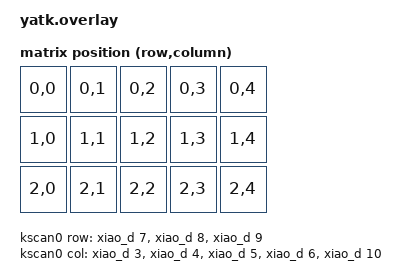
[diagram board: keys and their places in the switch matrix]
#include <dt-bindings/zmk/matrix_transform.h>
/ {
    chosen {
        zmk,kscan = &kscan0;
        zmk,matrix-transform = &default_transform;
    };

    default_transform: keymap_transform_0 {
        compatible = "zmk,matrix-transform";
        columns = <5>;
        rows = <3>;
//   | sw | sw | sw | sw | sw |
//   | sw | sw | sw | sw | sw |
//   | sw | sw | sw | sw | sw |                         

        map = <
RC(0,0) RC(0,1) RC(0,2) RC(0,3) RC(0,4)
RC(1,0) RC(1,1) RC(1,2) RC(1,3) RC(1,4)
RC(2,0) RC(2,1) RC(2,2) RC(2,3) RC(2,4)
        >;
    };

kscan0: kscan {
    compatible ="zmk,kscan-gpio-matrix";
    label = "KSCAN";
    diode-direction = "col2row";

    row-gpios
        = <&xiao_d 7 (GPIO_ACTIVE_HIGH | GPIO_PULL_DOWN)> // row0
        , <&xiao_d 8 (GPIO_ACTIVE_HIGH | GPIO_PULL_DOWN)> // row1
        , <&xiao_d 9 (GPIO_ACTIVE_HIGH | GPIO_PULL_DOWN)> // row2
        ;
    col-gpios
        = <&xiao_d 3  (GPIO_ACTIVE_HIGH)> // col0
        , <&xiao_d 4  (GPIO_ACTIVE_HIGH)> // col1
        , <&xiao_d 5  (GPIO_ACTIVE_HIGH)> // col2
        , <&xiao_d 6  (GPIO_ACTIVE_HIGH)> // col3
        , <&xiao_d 10 (GPIO_ACTIVE_HIGH)> // col3
        ;
    };
};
